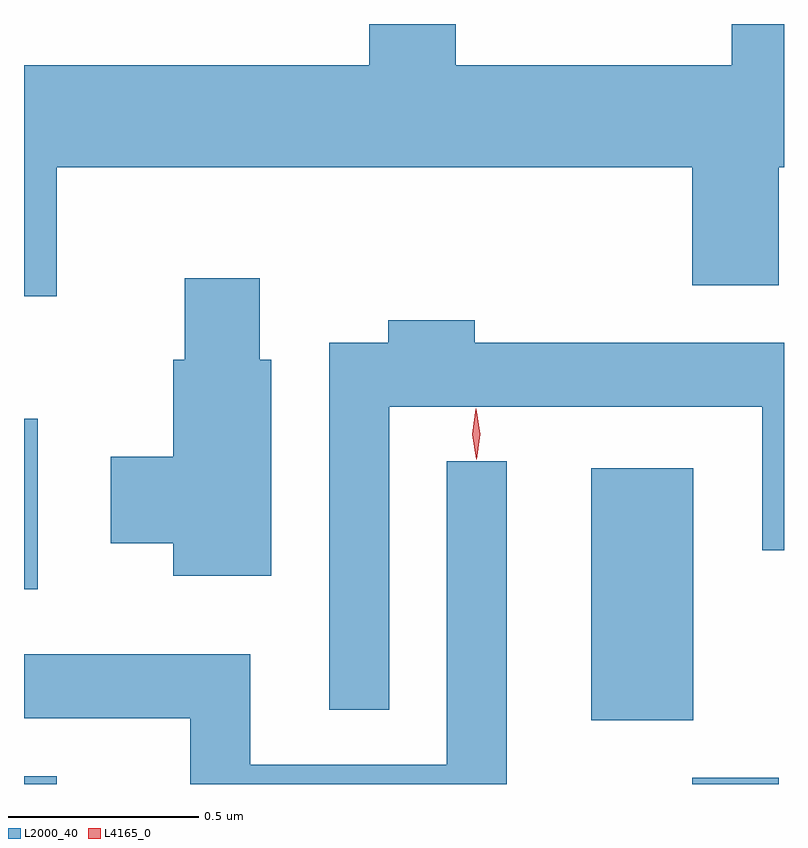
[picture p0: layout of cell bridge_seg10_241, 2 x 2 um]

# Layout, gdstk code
import gdstk
lib = gdstk.Library(unit=1e-6, precision=1e-09)
def R(c, l, rs):  # rectangles x0, y0, x1, y1
    for r in rs: c.add(gdstk.rectangle(r[:2], r[2:], *l))
def P(c, l, *ps):  # polygons
    for p in ps: c.add(gdstk.Polygon(p, *l))
L2000_40 = (2000, 40)
L4165_0 = (4165, 0)

bridge_seg10_241 = lib.new_cell('bridge_seg10_241')
R(bridge_seg10_241, L2000_40, [(1761.473,2092.313,1761.559,2092.334), (1763.231,2092.313,1763.459,2092.329), (1762.966,2092.481,1763.234,2093.144), (1761.473,2092.826,1761.509,2093.274)])
P(bridge_seg10_241, L2000_40, [(1761.559,2093.936),(1763.231,2093.936),(1763.231,2093.626),(1763.459,2093.626),(1763.459,2093.936),(1763.473,2093.936),(1763.473,2094.313),(1763.336,2094.313),(1763.336,2094.204),(1762.609,2094.204),(1762.609,2094.313),(1762.381,2094.313),(1762.381,2094.204),(1761.473,2094.204),(1761.473,2093.596),(1761.559,2093.596)],
  [(1762.124,2093.429),(1762.094,2093.429),(1762.094,2093.644),(1761.896,2093.644),(1761.896,2093.429),(1761.866,2093.429),(1761.866,2093.174),(1761.701,2093.174),(1761.701,2092.946),(1761.866,2092.946),(1761.866,2092.861),(1762.124,2092.861)],
  [(1762.434,2093.306),(1763.416,2093.306),(1763.416,2092.928),(1763.473,2092.928),(1763.473,2093.474),(1762.659,2093.474),(1762.659,2093.534),(1762.431,2093.534),(1762.431,2093.474),(1762.276,2093.474),(1762.276,2092.508),(1762.434,2092.508)],
  [(1762.744,2093.163),(1762.586,2093.163),(1762.586,2092.364),(1762.069,2092.364),(1762.069,2092.654),(1761.473,2092.654),(1761.473,2092.486),(1761.911,2092.486),(1761.911,2092.313),(1762.744,2092.313)])
P(bridge_seg10_241, L4165_0, [(1762.663,2093.167),(1762.663,2093.167),(1762.653,2093.234),(1762.662,2093.3),(1762.663,2093.3),(1762.663,2093.3),(1762.673,2093.234),(1762.664,2093.167)])

lib.write_gds('bridge_seg10_241.gds')
